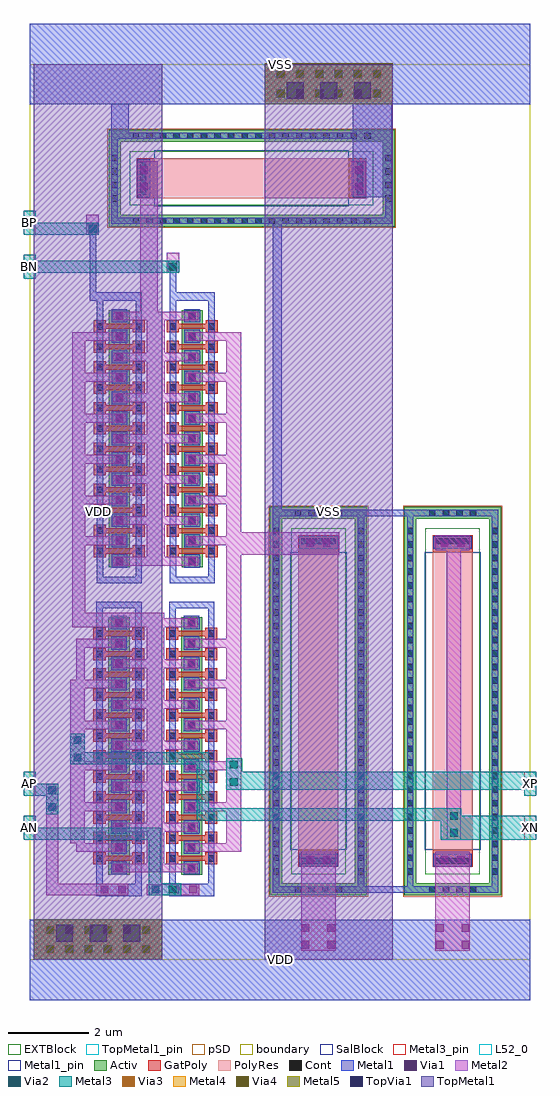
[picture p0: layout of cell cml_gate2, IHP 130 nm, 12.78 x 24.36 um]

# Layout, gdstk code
from math import pi, radians
import gdstk
lib = gdstk.Library(unit=1e-6, precision=1e-09)
def R(c, l, rs):  # rectangles x0, y0, x1, y1
    for r in rs: c.add(gdstk.rectangle(r[:2], r[2:], *l))
def A(c, l, x, y, w, h, nx, ny, dx, dy):  # array of equal rectangles
    R(c, l, [(x+i*dx, y+j*dy, x+i*dx+w, y+j*dy+h) for i in range(nx) for j in range(ny)])
Activ = (1, 0)
GatPoly = (5, 0)
Cont = (6, 0)
Metal1 = (8, 0)
Metal1_pin = (8, 2)
Metal2 = (10, 0)
pSD = (14, 0)
Via1 = (19, 0)
SalBlock = (28, 0)
Via2 = (29, 0)
Metal3 = (30, 0)
Metal3_pin = (30, 2)
Via3 = (49, 0)
Metal4 = (50, 0)
L52_0 = (52, 0)
Via4 = (66, 0)
Metal5 = (67, 0)
EXTBlock = (111, 0)
TopVia1 = (125, 0)
TopMetal1 = (126, 0)
TopMetal1_pin = (126, 2)
PolyRes = (128, 0)
boundary = (189, 4)

rppd_xv6gfh = lib.new_cell('rppd_XV6GFH')
R(rppd_xv6gfh, Activ, [(-1.21,-3.57,1.21,-3.27), (-1.21,-3.27,-0.91,3.27), (0.91,-3.27,1.21,3.27), (-1.21,3.27,1.21,3.57)])
R(rppd_xv6gfh, GatPoly, [(-0.5,-2.86,0.5,-2.43), (-0.5,2.43,0.5,2.86)])
A(rppd_xv6gfh, Cont, -0.59, -3.5, 0.16, 0.16, 4, 2, 0.34, 6.84)
A(rppd_xv6gfh, Cont, -1.14, -2.97, 0.16, 0.16, 1, 18, 0, 0.34)
A(rppd_xv6gfh, Cont, 0.98, -2.97, 0.16, 0.16, 1, 18, 0, 0.34)
R(rppd_xv6gfh, Cont, [(-0.43,-2.79,0.43,-2.63), (-0.43,2.63,0.43,2.79)])
R(rppd_xv6gfh, Metal1, [(-1.14,-3.5,1.14,-3.34), (-1.14,-3.34,-0.98,3.34), (0.98,-3.34,1.14,3.34), (-0.48,-2.84,0.48,-2.525), (-0.48,2.525,0.48,2.84), (-1.14,3.34,1.14,3.5)])
R(rppd_xv6gfh, Metal2, [(-0.43,-2.855,0.43,-2.485), (-0.43,2.485,0.43,2.855)])
R(rppd_xv6gfh, pSD, [(-1.24,-3.6,1.24,3.6)])
R(rppd_xv6gfh, Via1, [(-0.3,-2.765,-0.11,-2.575), (0.11,-2.765,0.3,-2.575), (-0.3,2.575,-0.11,2.765), (0.11,2.575,0.3,2.765)])
R(rppd_xv6gfh, SalBlock, [(-0.7,-2.43,0.7,2.43)])
R(rppd_xv6gfh, L52_0, [(-0.5,-2.43,0.5,2.43)])
R(rppd_xv6gfh, EXTBlock, [(-0.68,-3.04,0.68,3.04)])
R(rppd_xv6gfh, PolyRes, [(-0.5,-2.43,0.5,2.43)])
R(rppd_xv6gfh, boundary, [(-1.06,-3.42,1.06,3.42)])
rppd_xv6gfh.add(gdstk.Label('B', (0,-3.42), layer=8, texttype=25))
rppd_xv6gfh.add(gdstk.Label('R1', (0,2.71), layer=8, texttype=25))
rppd_xv6gfh.add(gdstk.Label('R2', (0,-2.71), layer=8, texttype=25))

sg13_lv_nmos_ftpy57 = lib.new_cell('sg13_lv_nmos_FTPY57')
R(sg13_lv_nmos_ftpy57, Activ, [(-3.21,-0.265,3.21,0.265)])
A(sg13_lv_nmos_ftpy57, GatPoly, -2.955, -0.635, 0.3, 0.3, 12, 2, 0.51, 0.97)
A(sg13_lv_nmos_ftpy57, GatPoly, -2.87, -0.335, 0.13, 0.67, 12, 1, 0.51, 0)
A(sg13_lv_nmos_ftpy57, Cont, -2.885, -0.565, 0.16, 0.16, 12, 2, 0.51, 0.97)
A(sg13_lv_nmos_ftpy57, Cont, -3.14, -0.08, 0.16, 0.16, 13, 1, 0.51, 0)
A(sg13_lv_nmos_ftpy57, Metal1, -3.19, -0.195, 0.26, 0.39, 13, 1, 0.51, 0)
R(sg13_lv_nmos_ftpy57, Metal1, [(-3.06,-0.565,3.06,-0.405), (-3.06,0.405,3.06,0.565)])
sg13_lv_nmos_ftpy57.add(gdstk.Label('G', (2.805,0.485), layer=8, texttype=25))
sg13_lv_nmos_ftpy57.add(gdstk.Label('G', (2.295,0.485), layer=8, texttype=25))
sg13_lv_nmos_ftpy57.add(gdstk.Label('G', (1.785,0.485), layer=8, texttype=25))
sg13_lv_nmos_ftpy57.add(gdstk.Label('G', (1.275,0.485), layer=8, texttype=25))
sg13_lv_nmos_ftpy57.add(gdstk.Label('G', (0.765,0.485), layer=8, texttype=25))
sg13_lv_nmos_ftpy57.add(gdstk.Label('G', (0.255,0.485), layer=8, texttype=25))
sg13_lv_nmos_ftpy57.add(gdstk.Label('G', (-0.255,0.485), layer=8, texttype=25))
sg13_lv_nmos_ftpy57.add(gdstk.Label('G', (-0.765,0.485), layer=8, texttype=25))
sg13_lv_nmos_ftpy57.add(gdstk.Label('G', (-1.275,0.485), layer=8, texttype=25))
sg13_lv_nmos_ftpy57.add(gdstk.Label('G', (-1.785,0.485), layer=8, texttype=25))
sg13_lv_nmos_ftpy57.add(gdstk.Label('G', (-2.295,0.485), layer=8, texttype=25))
sg13_lv_nmos_ftpy57.add(gdstk.Label('G', (-2.805,0.485), layer=8, texttype=25))
sg13_lv_nmos_ftpy57.add(gdstk.Label('D0', (-3.06,0), layer=8, texttype=25))
sg13_lv_nmos_ftpy57.add(gdstk.Label('S1', (-2.55,0), layer=8, texttype=25))
sg13_lv_nmos_ftpy57.add(gdstk.Label('D2', (-2.04,0), layer=8, texttype=25))
sg13_lv_nmos_ftpy57.add(gdstk.Label('S3', (-1.53,0), layer=8, texttype=25))
sg13_lv_nmos_ftpy57.add(gdstk.Label('D4', (-1.02,0), layer=8, texttype=25))
sg13_lv_nmos_ftpy57.add(gdstk.Label('S5', (-0.51,0), layer=8, texttype=25))
sg13_lv_nmos_ftpy57.add(gdstk.Label('D6', (0,0), layer=8, texttype=25))
sg13_lv_nmos_ftpy57.add(gdstk.Label('S7', (0.51,0), layer=8, texttype=25))
sg13_lv_nmos_ftpy57.add(gdstk.Label('D8', (1.02,0), layer=8, texttype=25))
sg13_lv_nmos_ftpy57.add(gdstk.Label('S9', (1.53,0), layer=8, texttype=25))
sg13_lv_nmos_ftpy57.add(gdstk.Label('D10', (2.04,0), layer=8, texttype=25))
sg13_lv_nmos_ftpy57.add(gdstk.Label('S11', (2.55,0), layer=8, texttype=25))

rppd_w2kase = lib.new_cell('rppd_W2KASE')
R(rppd_w2kase, Activ, [(-1.21,-4.85,1.21,-4.55), (-1.21,-4.55,-0.91,4.55), (0.91,-4.55,1.21,4.55), (-1.21,4.55,1.21,4.85)])
R(rppd_w2kase, GatPoly, [(-0.5,-4.14,0.5,-3.71), (-0.5,3.71,0.5,4.14)])
A(rppd_w2kase, Cont, -0.59, -4.78, 0.16, 0.16, 4, 2, 0.34, 9.4)
A(rppd_w2kase, Cont, -1.14, -4.33, 0.16, 0.16, 1, 26, 0, 0.34)
A(rppd_w2kase, Cont, 0.98, -4.33, 0.16, 0.16, 1, 26, 0, 0.34)
R(rppd_w2kase, Cont, [(-0.43,-4.07,0.43,-3.91), (-0.43,3.91,0.43,4.07)])
R(rppd_w2kase, Metal1, [(-1.14,-4.78,1.14,-4.62), (-1.14,-4.62,-0.98,4.62), (0.98,-4.62,1.14,4.62), (-0.48,-4.12,0.48,-3.805), (-0.48,3.805,0.48,4.12), (-1.14,4.62,1.14,4.78)])
R(rppd_w2kase, Metal2, [(-0.43,-4.135,0.43,-3.765), (-0.43,3.765,0.43,4.135)])
R(rppd_w2kase, pSD, [(-1.24,-4.88,1.24,4.88)])
R(rppd_w2kase, Via1, [(-0.3,-4.045,-0.11,-3.855), (0.11,-4.045,0.3,-3.855), (-0.3,3.855,-0.11,4.045), (0.11,3.855,0.3,4.045)])
R(rppd_w2kase, SalBlock, [(-0.7,-3.71,0.7,3.71)])
R(rppd_w2kase, L52_0, [(-0.5,-3.71,0.5,3.71)])
R(rppd_w2kase, EXTBlock, [(-0.68,-4.32,0.68,4.32)])
R(rppd_w2kase, PolyRes, [(-0.5,-3.71,0.5,3.71)])
R(rppd_w2kase, boundary, [(-1.06,-4.7,1.06,4.7)])
rppd_w2kase.add(gdstk.Label('B', (0,-4.7), layer=8, texttype=25))
rppd_w2kase.add(gdstk.Label('R1', (0,3.99), layer=8, texttype=25))
rppd_w2kase.add(gdstk.Label('R2', (0,-3.99), layer=8, texttype=25))

cml_gate2 = lib.new_cell('cml_gate2')
A(cml_gate2, Metal1, 2.03, 2.135, 0.39, 0.33, 1, 13, 0, 0.51)
A(cml_gate2, Metal1, 3.84, 2.135, 0.39, 0.33, 1, 13, 0, 0.51)
A(cml_gate2, Metal1, 2.04, 9.79, 0.39, 0.33, 1, 13, 0, 0.51)
A(cml_gate2, Metal1, 3.85, 9.79, 0.39, 0.33, 1, 13, 0, 0.51)
R(cml_gate2, Metal1, [(0,-1,12.48,1), (1.655,1.59,2.785,1.9), (3.475,1.59,4.605,1.9), (8.34,1.68,9.41,1.84), (1.655,1.9,1.815,2.28), (2.625,1.9,2.785,2.28), (3.475,1.9,3.635,2.28), (4.445,1.9,4.605,2.28), (1.655,8.4,1.815,8.78), (2.625,8.4,2.785,8.78), (3.475,8.4,3.635,8.78), (4.445,8.4,4.605,8.78), (1.655,8.78,2.785,8.94), (3.475,8.78,4.605,8.94), (1.665,9.4,2.795,9.57), (3.485,9.4,4.615,9.57), (1.665,9.57,1.825,9.95), (2.635,9.57,2.795,9.95), (3.485,9.57,3.645,9.95), (4.455,9.57,4.615,9.95), (8.34,11.08,9.41,11.24), (6.06,11.24,6.28,18.37), (1.665,16.07,1.825,16.45), (2.635,16.07,2.795,16.45), (3.485,16.07,3.645,16.45), (4.455,16.07,4.615,16.45), (1.49,16.45,2.795,16.66), (3.485,16.45,4.615,16.66), (1.49,16.66,1.65,18.1), (3.485,16.66,3.65,17.15), (3.45,17.15,3.68,17.45), (1.45,18.1,1.68,18.4), (8.055,19.03,9.03,21.36), (2.03,20.5,2.46,21.36), (0,21.36,12.48,23.36)])
R(cml_gate2, Metal1_pin, [(0,-1,12.48,1), (0,21.36,12.48,23.36)])
A(cml_gate2, Metal2, 2.07, 2.185, 2.12, 0.22, 1, 6, 0, 1.02)
A(cml_gate2, Metal2, 2.91, 2.405, 0.44, 0.8, 1, 6, 0, 1.02)
A(cml_gate2, Metal2, 3.88, 2.695, 1.39, 0.22, 1, 6, 0, 1.02)
A(cml_gate2, Metal2, 1, 2.915, 0.37, 0.8, 1, 4, 0, 1.02)
A(cml_gate2, Metal2, 4.9, 2.915, 0.37, 0.8, 1, 5, 0, 1.02)
A(cml_gate2, Metal2, 1, 3.715, 1.38, 0.22, 1, 4, 0, 1.02)
A(cml_gate2, Metal2, 2.08, 9.84, 2.12, 0.22, 1, 7, 0, 1.02)
A(cml_gate2, Metal2, 2.92, 10.06, 0.44, 0.8, 1, 6, 0, 1.02)
A(cml_gate2, Metal2, 1.06, 10.35, 1.33, 0.22, 1, 6, 0, 1.02)
A(cml_gate2, Metal2, 1.06, 10.57, 0.32, 0.8, 1, 5, 0, 1.02)
A(cml_gate2, Metal2, 3.89, 11.37, 1.38, 0.22, 1, 5, 0, 1.02)
A(cml_gate2, Metal2, 4.9, 11.59, 0.37, 0.8, 1, 4, 0, 1.02)
R(cml_gate2, Metal2, [(0.1,0,3.3,1.02), (6.77,0.23,7.63,2.47), (10.12,0.23,10.98,2.47), (0.4,1.61,2.45,1.9), (2.91,1.62,4.23,1.89), (0.4,1.9,0.71,4.4), (1.15,2.695,2.38,2.915), (10.4,3,10.75,10.56), (1.15,6.995,1.37,7.795), (1.15,7.795,2.38,8.015), (4.9,8.015,5.27,10.11), (1.06,8.305,4.19,8.525), (1.06,8.525,3.35,8.67), (1.06,8.67,1.38,10.35), (4.9,10.11,7.72,10.35), (3.89,10.35,7.72,10.57), (4.9,10.57,7.72,10.68), (4.9,10.68,5.27,11.37), (2.75,16.18,3.19,19.94), (3.41,17.15,3.72,17.65), (1.41,18.1,1.72,18.6), (5.86,21.36,9.06,22.38)])
A(cml_gate2, Via1, 0.405, 0.175, 0.19, 0.19, 6, 2, 0.48, 0.48)
A(cml_gate2, Via1, 2.13, 2.2, 0.19, 0.19, 1, 13, 0, 0.51)
A(cml_gate2, Via1, 3.94, 2.2, 0.19, 0.19, 1, 13, 0, 0.51)
A(cml_gate2, Via1, 2.14, 9.855, 0.19, 0.19, 1, 13, 0, 0.51)
A(cml_gate2, Via1, 3.95, 9.855, 0.19, 0.19, 1, 13, 0, 0.51)
A(cml_gate2, Via1, 6.165, 21.535, 0.19, 0.19, 6, 2, 0.48, 0.48)
R(cml_gate2, Via1, [(6.785,0.285,6.975,0.475), (7.425,0.285,7.615,0.475), (10.135,0.285,10.325,0.475), (10.775,0.285,10.965,0.475), (6.785,0.705,6.975,0.895), (7.425,0.705,7.615,0.895), (10.135,0.705,10.325,0.895), (10.775,0.705,10.965,0.895), (1.76,1.66,1.95,1.85), (2.2,1.66,2.39,1.85), (3.54,1.66,3.73,1.85), (3.98,1.66,4.17,1.85), (3.475,17.205,3.665,17.395), (1.475,18.155,1.665,18.345)])
A(cml_gate2, Via2, 0.405, 0.175, 0.19, 0.19, 6, 2, 0.48, 0.48)
A(cml_gate2, Via2, 6.165, 21.535, 0.19, 0.19, 6, 2, 0.48, 0.48)
R(cml_gate2, Via2, [(3.04,1.66,3.23,1.85), (3.46,1.66,3.65,1.85), (10.49,3.08,10.68,3.27), (10.49,3.5,10.68,3.69), (0.46,3.72,0.65,3.91), (0.46,4.14,0.65,4.33), (4.99,4.35,5.18,4.54), (4.99,4.78,5.18,4.97), (1.09,4.96,1.28,5.15), (1.09,5.39,1.28,5.58), (3.475,17.205,3.665,17.395), (1.475,18.155,1.665,18.345)])
R(cml_gate2, Metal3, [(0.1,0,3.3,1.02), (2.96,1.61,3.78,1.91), (2.96,1.91,3.26,3), (-0.15,3,3.26,3.3), (10.25,3,12.63,3.47), (-0.15,3.3,0.15,3.6), (4.16,3.47,12.63,3.6), (4.16,3.6,10.76,3.79), (0.4,3.63,0.71,4.1), (4.16,3.79,4.46,4.88), (-0.15,4.1,0.71,4.4), (12.33,4.1,12.63,4.25), (4.9,4.25,12.63,4.7), (-0.15,4.4,0.15,4.7), (4.9,4.7,5.3,5.03), (1,4.88,4.46,5.18), (1,5.18,1.37,5.64), (-0.15,17,0.15,17.15), (-0.15,17.15,3.72,17.45), (-0.15,17.45,0.15,17.6), (-0.15,18.1,1.72,18.4), (-0.15,18.4,0.15,18.7), (5.86,21.36,9.06,22.38)])
R(cml_gate2, Metal3_pin, [(-0.15,3,0.15,3.6), (12.33,3,12.63,3.6), (-0.15,4.1,0.15,4.7), (12.33,4.1,12.63,4.7), (-0.15,17,0.15,17.6), (-0.15,18.1,0.15,18.7)])
A(cml_gate2, Via3, 0.405, 0.175, 0.19, 0.19, 6, 2, 0.48, 0.48)
A(cml_gate2, Via3, 6.165, 21.535, 0.19, 0.19, 6, 2, 0.48, 0.48)
R(cml_gate2, Metal4, [(0.1,0,3.3,1.02), (5.86,21.36,9.06,22.38)])
A(cml_gate2, Via4, 0.405, 0.175, 0.19, 0.19, 6, 2, 0.48, 0.48)
A(cml_gate2, Via4, 6.165, 21.535, 0.19, 0.19, 6, 2, 0.48, 0.48)
R(cml_gate2, Metal5, [(0.1,0,3.3,1.02), (5.86,21.36,9.06,22.38)])
A(cml_gate2, TopVia1, 0.65, 0.46, 0.42, 0.42, 3, 1, 0.84, 0)
A(cml_gate2, TopVia1, 6.41, 21.49, 0.42, 0.42, 3, 1, 0.84, 0)
R(cml_gate2, TopMetal1, [(0.1,0,3.3,22.36), (5.86,0,9.06,22.36)])
R(cml_gate2, TopMetal1_pin, [(0.1,0,3.3,22.36), (5.86,0,9.06,22.36)])
R(cml_gate2, boundary, [(0,0,12.48,22.36)])
cml_gate2.add(gdstk.Reference(rppd_xv6gfh, (5.53,19.51), rotation=pi/2))
cml_gate2.add(gdstk.Reference(sg13_lv_nmos_ftpy57, (4.04,5.34), rotation=3*pi/2, x_reflection=True))
cml_gate2.add(gdstk.Reference(sg13_lv_nmos_ftpy57, (2.22,5.34), rotation=3*pi/2))
cml_gate2.add(gdstk.Reference(sg13_lv_nmos_ftpy57, (2.23,13.01), rotation=3*pi/2))
cml_gate2.add(gdstk.Reference(sg13_lv_nmos_ftpy57, (4.05,13.01), rotation=3*pi/2, x_reflection=True))
cml_gate2.add(gdstk.Reference(rppd_w2kase, (10.55,6.46), rotation=pi))
cml_gate2.add(gdstk.Reference(rppd_w2kase, (7.2,6.46), rotation=pi))
cml_gate2.add(gdstk.Label('VDD', (6.24,0), layer=8, texttype=25))
cml_gate2.add(gdstk.Label('VSS', (6.24,22.36), layer=8, texttype=25))
cml_gate2.add(gdstk.Label('AN', (0,3.3), layer=30, texttype=25))
cml_gate2.add(gdstk.Label('AP', (0,4.4), layer=30, texttype=25))
cml_gate2.add(gdstk.Label('XN', (12.48,3.3), layer=30, texttype=25))
cml_gate2.add(gdstk.Label('XP', (12.48,4.4), layer=30, texttype=25))
cml_gate2.add(gdstk.Label('BN', (0,17.3), layer=30, texttype=25))
cml_gate2.add(gdstk.Label('BP', (0,18.4), layer=30, texttype=25))
cml_gate2.add(gdstk.Label('VDD', (1.7,11.18), layer=126, texttype=25))
cml_gate2.add(gdstk.Label('VSS', (7.46,11.18), layer=126, texttype=25))

lib.write_gds('cml_gate2.gds')
